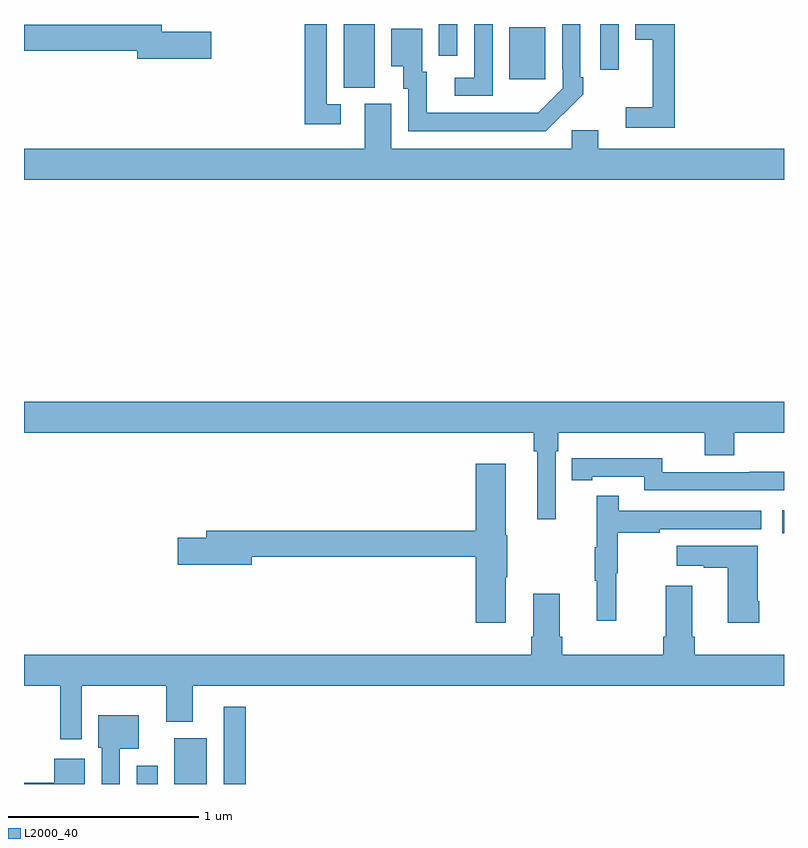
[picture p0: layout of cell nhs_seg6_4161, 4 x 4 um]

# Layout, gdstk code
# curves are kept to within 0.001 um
import gdstk
lib = gdstk.Library(unit=1e-6, precision=1e-09)
def R(c, l, rs):  # rectangles x0, y0, x1, y1
    for r in rs: c.add(gdstk.rectangle(r[:2], r[2:], *l))
def P(c, l, *ps):  # polygons
    for p in ps: c.add(gdstk.Polygon(p, *l))
L2000_40 = (2000, 40)

nhs_seg6_4161 = lib.new_cell('nhs_seg6_4161')
R(nhs_seg6_4161, L2000_40, [(357.593,933.5,357.703,933.595), (357.791,933.5,357.961,933.742), (358.05,933.5,358.166,933.907), (360.99,934.821,361,934.942), (358.682,937.165,358.846,937.5), (359.555,937.209,359.743,937.483), (360.033,937.26,360.129,937.5), (359.184,937.332,359.28,937.5)])
P(nhs_seg6_4161, L2000_40, [(359.837,937.027),(359.838,937.026),(359.943,937.131),(359.943,937.219),(359.928,937.219),(359.928,937.5),(359.832,937.5),(359.832,937.261),(359.835,937.261),(359.835,937.161),(359.707,937.033),(359.119,937.032),(359.119,937.248),(359.095,937.248),(359.095,937.474),(358.934,937.474),(358.934,937.277),(358.997,937.277),(358.997,937.158),(359.022,937.158),(359.022,936.936),(359.746,936.936)],
  [(358.666,937.077),(358.593,937.077),(358.593,937.5),(358.477,937.5),(358.477,936.972),(358.666,936.972)],
  [(360.425,937.5),(360.218,937.5),(360.218,937.418),(360.308,937.418),(360.308,937.063),(360.168,937.063),(360.168,936.954),(360.425,936.954)],
  [(359.466,937.5),(359.37,937.5),(359.37,937.218),(359.268,937.218),(359.268,937.122),(359.466,937.122)],
  [(357.985,937.46),(357.724,937.46),(357.724,937.496),(357,937.496),(357,937.36),(357.596,937.36),(357.596,937.318),(357.985,937.318)],
  [(361,936.844),(360.022,936.844),(360.022,936.942),(359.883,936.942),(359.883,936.844),(358.933,936.844),(358.933,937.08),(358.793,937.08),(358.793,936.844),(357,936.844),(357,936.68),(361,936.68)],
  [(359.799,935.252),(359.813,935.252),(359.813,935.348),(360.584,935.348),(360.584,935.231),(360.737,935.231),(360.737,935.348),(361,935.348),(361,935.512),(357,935.512),(357,935.348),(359.683,935.348),(359.683,935.252),(359.702,935.252),(359.702,934.893),(359.799,934.893)],
  [(361,935.144),(360.82,935.144),(360.82,935.142),(360.36,935.142),(360.36,935.215),(359.992,935.215),(359.992,935.214),(359.884,935.214),(359.884,935.098),(359.992,935.098),(359.992,935.118),(360.264,935.118),(360.264,935.046),(361,935.046)],
  [(359.536,934.588),(359.544,934.588),(359.544,934.809),(359.536,934.809),(359.536,935.185),(359.378,935.185),(359.378,934.832),(357.959,934.832),(357.959,934.796),(357.81,934.796),(357.81,934.654),(358.198,934.654),(358.198,934.696),(359.378,934.696),(359.378,934.35),(359.536,934.35)],
  [(360.116,934.608),(360.124,934.608),(360.124,934.822),(360.347,934.822),(360.347,934.842),(360.88,934.842),(360.88,934.938),(360.131,934.938),(360.131,935.017),(360.014,935.017),(360.014,934.745),(360.003,934.745),(360.003,934.571),(360.014,934.571),(360.014,934.359),(360.116,934.359)],
  [(360.87,934.462),(360.862,934.462),(360.862,934.753),(360.435,934.753),(360.435,934.649),(360.578,934.649),(360.578,934.639),(360.704,934.639),(360.704,934.35),(360.87,934.35)],
  [(357.304,934.016),(357.749,934.016),(357.749,933.827),(357.889,933.827),(357.889,934.016),(361,934.016),(361,934.18),(360.53,934.18),(360.53,934.276),(360.517,934.276),(360.517,934.543),(360.377,934.543),(360.377,934.276),(360.365,934.276),(360.365,934.18),(359.834,934.18),(359.834,934.276),(359.821,934.276),(359.821,934.501),(359.681,934.501),(359.681,934.276),(359.669,934.276),(359.669,934.18),(357,934.18),(357,934.016),(357.191,934.016),(357.191,933.735),(357.304,933.735)],
  [(357.504,933.686),(357.604,933.686),(357.604,933.862),(357.392,933.862),(357.392,933.69),(357.408,933.69),(357.408,933.5),(357.504,933.5)],
  [(357.319,933.634),(357.158,933.634),(357.158,933.506),(357,933.506),(357,933.5),(357.319,933.5)])

lib.write_gds('nhs_seg6_4161.gds')
